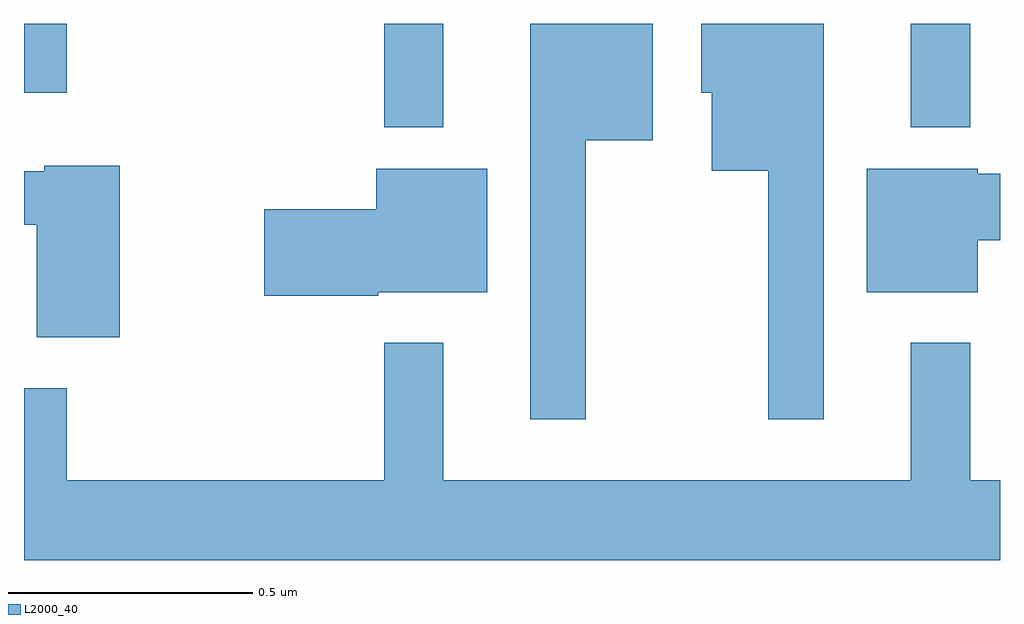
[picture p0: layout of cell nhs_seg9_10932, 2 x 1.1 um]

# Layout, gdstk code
import gdstk
lib = gdstk.Library(unit=1e-6, precision=1e-09)
def R(c, l, rs):  # rectangles x0, y0, x1, y1
    for r in rs: c.add(gdstk.rectangle(r[:2], r[2:], *l))
def P(c, l, *ps):  # polygons
    for p in ps: c.add(gdstk.Polygon(p, *l))
L2000_40 = (2000, 40)

nhs_seg9_10932 = lib.new_cell('nhs_seg9_10932')
R(nhs_seg9_10932, L2000_40, [(249.738,1217.288,249.859,1217.5), (250.817,1217.288,250.939,1217.5), (249,1217.358,249.088,1217.5)])
P(nhs_seg9_10932, L2000_40, [(250.639,1217.5),(250.388,1217.5),(250.388,1217.358),(250.409,1217.358),(250.409,1217.198),(250.525,1217.198),(250.525,1216.689),(250.639,1216.689)],
  [(250.151,1217.261),(250.288,1217.261),(250.288,1217.5),(250.037,1217.5),(250.037,1216.689),(250.151,1216.689)],
  [(249.196,1217.209),(249.042,1217.209),(249.042,1217.197),(249,1217.197),(249,1217.088),(249.026,1217.088),(249.026,1216.857),(249.196,1216.857)],
  [(249.726,1216.949),(249.949,1216.949),(249.949,1217.203),(249.722,1217.203),(249.722,1217.12),(249.492,1217.12),(249.492,1216.942),(249.726,1216.942)],
  [(250.954,1217.056),(251,1217.056),(251,1217.192),(250.954,1217.192),(250.954,1217.203),(250.727,1217.203),(250.727,1216.949),(250.954,1216.949)],
  [(251,1216.564),(250.939,1216.564),(250.939,1216.846),(250.817,1216.846),(250.817,1216.564),(249.859,1216.564),(249.859,1216.846),(249.738,1216.846),(249.738,1216.564),(249.088,1216.564),(249.088,1216.753),(249,1216.753),(249,1216.4),(251,1216.4)])

lib.write_gds('nhs_seg9_10932.gds')
